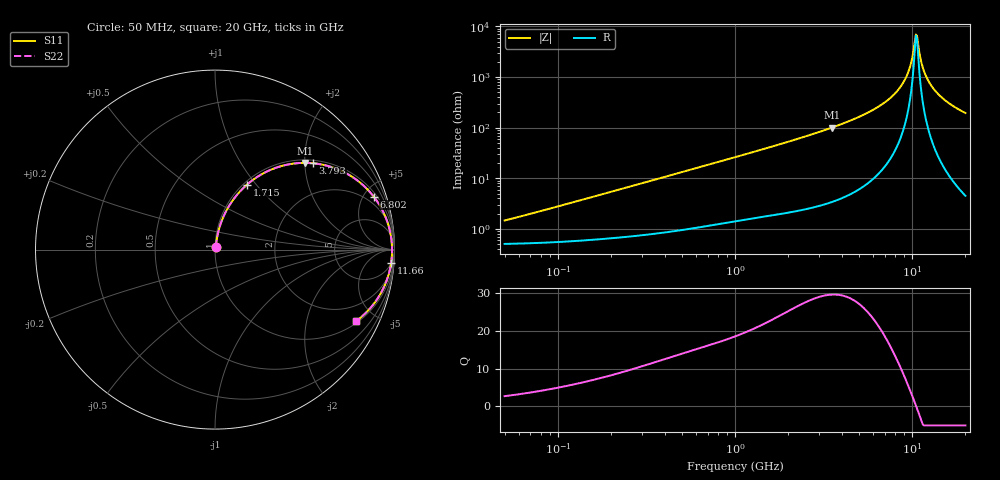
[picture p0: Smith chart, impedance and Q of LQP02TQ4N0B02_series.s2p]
!Murata Part Number: LQP02TQ4N0B02
!These Parameters are Measured in Series Mode Connection
!  o--[Z]--o
!Port1  Port2
!  o-------o
!Freq. Start=50[MHz] Stop=20[GHz], 401[Steps]
# Hz S RI R 50
!Freq.(Hz) S11(Real) S11(Imag) S21(Real) S21(Imag) S12(Real) S12(Imag) S22(Real) S22(Imag)
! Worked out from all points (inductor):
!   401 points, 50 MHz to 20 GHz, reference 50 ohm
!   read as one part in series: L = 4.37 nH near 56.37 MHz
!   highest Q = 29.5 at 3.519 GHz (marker M1), where L = 4.53 nH
!   self-resonance near 10.5 GHz
!   S11 on the Smith chart (normalised r, x): 50 MHz: 1.01, +0.03; 1.715 GHz: 1.04, +0.90; 3.793 GHz: 1.07, +2.20; 6.802 GHz: 1.30, +5.86; 11.66 GHz: 6, -26; 20 GHz: 1.09, -3.90
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5e7  0.00523 0.0136  0.9948 -0.0136  0.9948 -0.0136  0.00523 0.0136
1.364002e8  0.00721 0.0366  0.9928 -0.0366  0.9928 -0.0366  0.00721 0.0366
3.721004e8  0.0176 0.0963  0.9824 -0.0963  0.9824 -0.0963  0.0176 0.0963
1e9  0.0752 0.238  0.9248 -0.238  0.9248 -0.238  0.0752 0.238
1.714689e9  0.1788 0.3625  0.8212 -0.3625  0.8212 -0.3625  0.1788 0.3625
2.728004e9  0.3599 0.4626  0.6401 -0.4626  0.6401 -0.4626  0.3599 0.4626
3.519108e9  0.5014 0.4833  0.4986 -0.4833  0.4986 -0.4833  0.5014 0.4833
3.792786e9  0.5471 0.4811  0.4529 -0.4811  0.4529 -0.4811  0.5471 0.4811
5.273168e9  0.751 0.4138  0.249 -0.4138  0.249 -0.4138  0.751 0.4138
6.802353e9  0.884 0.2957  0.116 -0.2957  0.116 -0.2957  0.884 0.2957
7.442007e9  0.9201 0.2423  0.0799 -0.2423  0.0799 -0.2423  0.9201 0.2423
8.389408e9  0.9568 0.1641  0.0432 -0.1641  0.0432 -0.1641  0.9568 0.1641
9.178299e9  0.9751 0.1015  0.0249 -0.1015  0.0249 -0.1015  0.9751 0.1015
9.745021e9  0.9825 0.0585  0.0175 -0.0585  0.0175 -0.0585  0.9825 0.0585
1.034674e10  0.9861 0.015  0.0139 -0.015  0.0139 -0.015  0.9861 0.015
1.050288e10  0.9864 0.00409  0.0136 -0.00409  0.0136 -0.00409  0.9864 0.00409
1.082228e10  0.9862 -0.0178  0.0138 0.0178  0.0138 0.0178  0.9862 -0.0178
1.131968e10  0.9842 -0.0505  0.0158 0.0505  0.0158 0.0505  0.9842 -0.0505
1.166392e10  0.9816 -0.0722  0.0184 0.0722  0.0184 0.0722  0.9816 -0.0722
1.257102e10  0.9709 -0.1258  0.0291 0.1258  0.0291 0.1258  0.9709 -0.1258
1.417136e10  0.9417 -0.2079  0.0583 0.2079  0.0583 0.2079  0.9417 -0.2079
2e10  0.7869 -0.3981  0.2131 0.3981  0.2131 0.3981  0.7869 -0.3981
